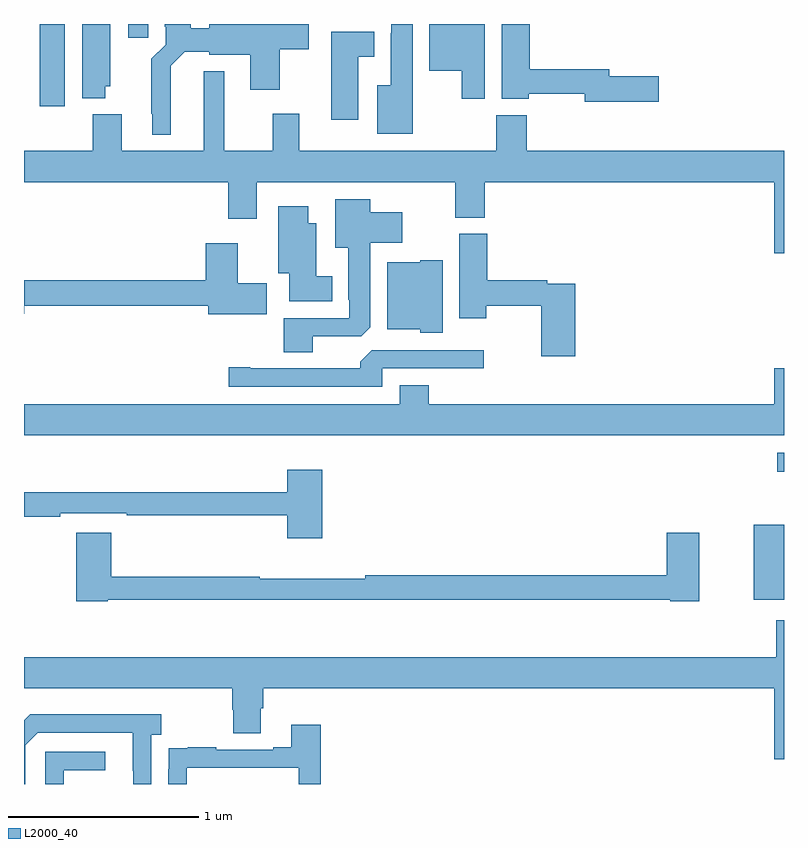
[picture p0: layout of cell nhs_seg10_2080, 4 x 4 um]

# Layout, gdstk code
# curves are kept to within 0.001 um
import gdstk
lib = gdstk.Library(unit=1e-6, precision=1e-09)
def R(c, l, rs):  # rectangles x0, y0, x1, y1
    for r in rs: c.add(gdstk.rectangle(r[:2], r[2:], *l))
def P(c, l, *ps):  # polygons
    for p in ps: c.add(gdstk.Polygon(p, *l))
L2000_40 = (2000, 40)

nhs_seg10_2080 = lib.new_cell('nhs_seg10_2080')
R(nhs_seg10_2080, L2000_40, [(224.84,1279.469,225,1279.864), (224.964,1280.143,225,1280.244), (221.084,1282.068,221.215,1282.5), (221.549,1282.428,221.653,1282.5)])
P(nhs_seg10_2080, L2000_40, [(221.773,1282.28),(221.847,1282.355),(221.976,1282.355),(221.976,1282.337),(222.191,1282.337),(222.191,1282.155),(222.346,1282.155),(222.346,1282.366),(222.499,1282.366),(222.499,1282.5),(221.976,1282.5),(221.976,1282.477),(221.878,1282.477),(221.878,1282.5),(221.741,1282.5),(221.741,1282.486),(221.745,1282.486),(221.745,1282.392),(221.671,1282.318),(221.671,1282.027),(221.675,1282.027),(221.675,1281.917),(221.773,1281.917)],
  [(221.428,1282.173),(221.455,1282.173),(221.455,1282.5),(221.306,1282.5),(221.306,1282.109),(221.428,1282.109)],
  [(223.045,1282.5),(222.933,1282.5),(222.933,1282.451),(222.929,1282.451),(222.929,1282.177),(222.86,1282.177),(222.86,1281.923),(223.045,1281.923)],
  [(223.426,1282.5),(223.133,1282.5),(223.133,1282.253),(223.304,1282.253),(223.304,1282.107),(223.426,1282.107)],
  [(224.341,1282.226),(224.08,1282.226),(224.08,1282.262),(223.661,1282.262),(223.661,1282.5),(223.514,1282.5),(223.514,1282.106),(223.656,1282.106),(223.656,1282.134),(223.952,1282.134),(223.952,1282.091),(224.341,1282.091)],
  [(222.76,1282.328),(222.844,1282.328),(222.844,1282.459),(222.617,1282.459),(222.617,1281.996),(222.76,1281.996)],
  [(225,1281.832),(223.646,1281.832),(223.646,1282.021),(223.486,1282.021),(223.486,1281.832),(222.448,1281.832),(222.448,1282.027),(222.308,1282.027),(222.308,1281.832),(222.055,1281.832),(222.055,1282.145),(222.054,1282.145),(222.054,1282.252),(221.945,1282.252),(221.945,1281.832),(221.515,1281.832),(221.515,1282.024),(221.363,1282.024),(221.363,1281.832),(221,1281.832),(221,1281.668),(222.074,1281.668),(222.074,1281.474),(222.226,1281.474),(222.226,1281.668),(223.271,1281.668),(223.271,1281.481),(223.424,1281.481),(223.424,1281.668),(224.948,1281.668),(224.948,1281.294),(225,1281.294)],
  [(222.52,1280.856),(222.774,1280.856),(222.823,1280.905),(222.823,1281.35),(222.991,1281.35),(222.991,1281.508),(222.823,1281.508),(222.823,1281.577),(222.638,1281.577),(222.638,1281.323),(222.707,1281.323),(222.707,1281.049),(222.711,1281.049),(222.711,1280.952),(222.368,1280.952),(222.368,1280.773),(222.52,1280.773)],
  [(222.622,1281.172),(222.538,1281.172),(222.538,1281.451),(222.496,1281.451),(222.496,1281.541),(222.338,1281.541),(222.338,1281.188),(222.395,1281.188),(222.395,1281.041),(222.622,1281.041)],
  [(223.901,1281.132),(223.754,1281.132),(223.754,1281.152),(223.439,1281.152),(223.439,1281.396),(223.292,1281.396),(223.292,1280.952),(223.434,1280.952),(223.434,1281.016),(223.723,1281.016),(223.723,1280.751),(223.901,1280.751)],
  [(222.277,1281.135),(222.124,1281.135),(222.124,1281.346),(221.957,1281.346),(221.957,1281.152),(221,1281.152),(221,1280.974),(221.002,1280.974),(221.002,1281.016),(221.969,1281.016),(221.969,1280.972),(222.277,1280.972)],
  [(223.204,1281.256),(223.086,1281.256),(223.086,1281.247),(222.911,1281.247),(222.911,1280.894),(223.086,1280.894),(223.086,1280.876),(223.204,1280.876)],
  [(222.885,1280.688),(223.42,1280.688),(223.42,1280.784),(222.831,1280.784),(222.77,1280.722),(222.77,1280.688),(222.19,1280.688),(222.19,1280.693),(222.078,1280.693),(222.078,1280.592),(222.885,1280.592)],
  [(225,1280.689),(224.948,1280.689),(224.948,1280.5),(223.13,1280.5),(223.13,1280.599),(222.977,1280.599),(222.977,1280.5),(221,1280.5),(221,1280.336),(225,1280.336)],
  [(222.569,1280.155),(222.386,1280.155),(222.386,1280.035),(221,1280.035),(221,1279.906),(221.192,1279.906),(221.192,1279.926),(221.542,1279.926),(221.542,1279.914),(222.386,1279.914),(222.386,1279.794),(222.569,1279.794)],
  [(221.442,1279.47),(224.4,1279.47),(224.4,1279.462),(224.554,1279.462),(224.554,1279.822),(224.384,1279.822),(224.384,1279.598),(222.795,1279.598),(222.795,1279.58),(222.242,1279.58),(222.242,1279.591),(221.459,1279.591),(221.459,1279.822),(221.276,1279.822),(221.276,1279.462),(221.442,1279.462)],
  [(225,1279.363),(224.96,1279.363),(224.96,1279.168),(221,1279.168),(221,1279.004),(222.095,1279.004),(222.095,1278.891),(222.1,1278.891),(222.1,1278.766),(222.247,1278.766),(222.247,1278.898),(222.26,1278.898),(222.26,1279.004),(224.948,1279.004),(224.948,1278.63),(225,1278.63)],
  [(221.007,1278.705),(221.073,1278.771),(221.573,1278.771),(221.574,1278.5),(221.67,1278.5),(221.67,1278.758),(221.722,1278.758),(221.722,1278.868),(221.032,1278.868),(221,1278.836),(221,1278.5),(221.007,1278.5)],
  [(221.856,1278.585),(222.447,1278.585),(222.447,1278.5),(222.563,1278.5),(222.563,1278.811),(222.407,1278.811),(222.407,1278.694),(222.311,1278.694),(222.311,1278.681),(222.011,1278.681),(222.011,1278.694),(221.863,1278.694),(221.863,1278.687),(221.761,1278.687),(221.761,1278.578),(221.76,1278.578),(221.76,1278.5),(221.856,1278.5)],
  [(221.208,1278.573),(221.428,1278.573),(221.428,1278.669),(221.112,1278.669),(221.112,1278.5),(221.208,1278.5)])

lib.write_gds('nhs_seg10_2080.gds')
